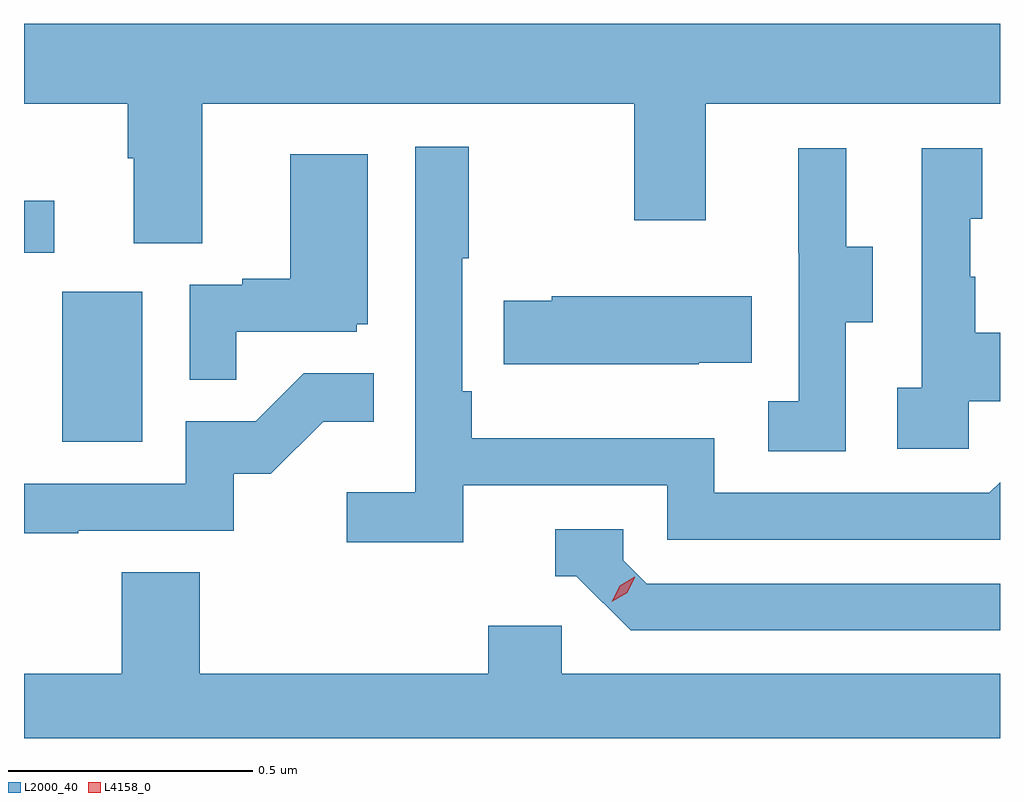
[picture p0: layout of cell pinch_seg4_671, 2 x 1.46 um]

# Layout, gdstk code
import gdstk
lib = gdstk.Library(unit=1e-6, precision=1e-09)
def R(c, l, rs):  # rectangles x0, y0, x1, y1
    for r in rs: c.add(gdstk.rectangle(r[:2], r[2:], *l))
def P(c, l, *ps):  # polygons
    for p in ps: c.add(gdstk.Polygon(p, *l))
L2000_40 = (2000, 40)
L4158_0 = (4158, 0)

pinch_seg4_671 = lib.new_cell('pinch_seg4_671')
R(pinch_seg4_671, L2000_40, [(1022.24,749.508,1022.404,749.815), (1022.162,749.895,1022.224,750.001)])
P(pinch_seg4_671, L2000_40, [(1022.527,750.2),(1023.412,750.2),(1023.412,749.961),(1023.559,749.961),(1023.559,750.2),(1024.162,750.2),(1024.162,750.364),(1022.162,750.364),(1022.162,750.2),(1022.375,750.2),(1022.375,750.088),(1022.387,750.088),(1022.387,749.914),(1022.527,749.914)],
  [(1023.062,749.418),(1023.48,749.418),(1023.48,749.307),(1024.162,749.307),(1024.162,749.425),(1024.14,749.403),(1023.576,749.403),(1023.576,749.515),(1023.08,749.515),(1023.08,749.611),(1023.06,749.611),(1023.06,749.884),(1023.073,749.884),(1023.073,750.112),(1022.964,750.112),(1022.964,749.404),(1022.823,749.404),(1022.823,749.302),(1023.062,749.302)],
  [(1023.846,749.752),(1023.901,749.752),(1023.901,749.907),(1023.847,749.907),(1023.847,750.109),(1023.749,750.109),(1023.749,749.895),(1023.75,749.895),(1023.75,749.591),(1023.687,749.591),(1023.687,749.488),(1023.846,749.488)],
  [(1024.098,749.591),(1024.162,749.591),(1024.162,749.731),(1024.111,749.731),(1024.111,749.846),(1024.101,749.846),(1024.101,749.964),(1024.126,749.964),(1024.126,750.109),(1024.002,750.109),(1024.002,749.618),(1023.951,749.618),(1023.951,749.493),(1024.098,749.493)],
  [(1022.597,749.733),(1022.844,749.733),(1022.844,749.748),(1022.866,749.748),(1022.866,750.097),(1022.708,750.097),(1022.708,749.842),(1022.609,749.842),(1022.609,749.829),(1022.502,749.829),(1022.502,749.635),(1022.597,749.635)],
  [(1023.545,749.669),(1023.653,749.669),(1023.653,749.806),(1023.243,749.806),(1023.243,749.796),(1023.145,749.796),(1023.145,749.666),(1023.545,749.666)],
  [(1022.273,749.325),(1022.592,749.325),(1022.592,749.442),(1022.668,749.442),(1022.775,749.549),(1022.879,749.549),(1022.879,749.648),(1022.735,749.648),(1022.637,749.55),(1022.493,749.55),(1022.493,749.421),(1022.162,749.421),(1022.162,749.32),(1022.273,749.32)],
  [(1024.162,749.217),(1023.438,749.217),(1023.39,749.265),(1023.39,749.328),(1023.251,749.328),(1023.251,749.232),(1023.294,749.232),(1023.405,749.121),(1024.162,749.121)],
  [(1024.162,749.032),(1023.264,749.032),(1023.264,749.13),(1023.113,749.13),(1023.113,749.032),(1022.522,749.032),(1022.522,749.24),(1022.362,749.24),(1022.362,749.032),(1022.162,749.032),(1022.162,748.9),(1024.162,748.9)])
P(pinch_seg4_671, L4158_0, [(1023.366,749.18),(1023.366,749.18),(1023.383,749.212),(1023.414,749.231),(1023.414,749.231),(1023.414,749.23),(1023.398,749.198),(1023.366,749.18)])

lib.write_gds('pinch_seg4_671.gds')
